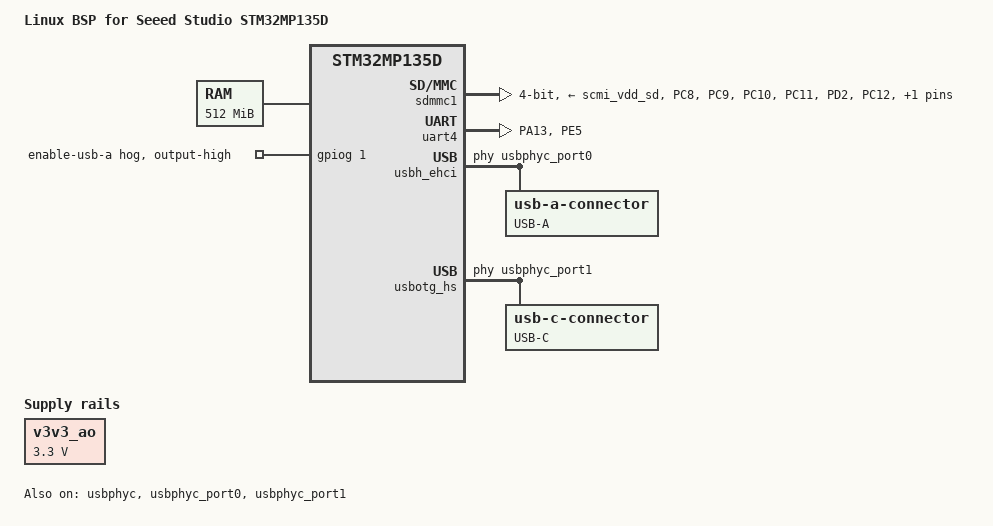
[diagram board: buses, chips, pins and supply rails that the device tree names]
// SPDX-License-Identifier: (GPL-2.0+ OR BSD-3-Clause)
/*
 * Copyright (C) 2026, STMicroelectronics - All Rights Reserved
 * Author: STM32CubeMX code generation for STMicroelectronics.
 */

/* For more information on Device Tree configuration, please refer to
 * https://wiki.st.com/stm32mpu/wiki/Category:Device_tree_configuration
 */

/dts-v1/;

#include <dt-bindings/pinctrl/stm32-pinfunc.h>
#include "stm32mp135.dtsi"
#include "stm32mp13xd.dtsi"

/* USER CODE BEGIN includes */
#include <dt-bindings/gpio/gpio.h>
/* USER CODE END includes */

/ {
	model = "Linux BSP for Seeed Studio STM32MP135D";
	compatible = "seeed,stm32mp135d-odyssey-mx";

	memory@c0000000 {
		device_type = "memory";
		reg = <0xc0000000 0x20000000>;

		/* USER CODE BEGIN memory */
		/* USER CODE END memory */
	};

	reserved-memory {
		#address-cells = <1>;
		#size-cells = <1>;
		ranges;

		/* USER CODE BEGIN reserved-memory */
		optee@dd000000{
			reg = <0xdd000000 0x3000000>;
			no-map;
		};		
		/* USER CODE END reserved-memory */
	};

	/* USER CODE BEGIN root */
	aliases {
		serial0 = &uart4;
	};

	chosen {
		stdout-path = "serial0:115200n8";
		#address-cells = <1>;
		#size-cells = <1>;
		ranges;		
	};

	v3v3_ao:v3v3-ao{
		compatible = "regulator-fixed";
		regulator-name = "v3v3_ao";
		regulator-min-microvolt = <3300000>;
		regulator-max-microvolt = <3300000>;
		regulator-always-on;
	};
	
	/* gpio-keys{ */
	/* 	compatible = "gpio-keys"; */

	/* 	button-user{ */
	/* 		label = "User-PA13"; */
	/* 		linux,code = <BTN_1>; */
	/* 		gpios = <&gpioa 13 (GPIO_ACTIVE_LOW | GPIO_PULL_UP)>; */
	/* 	}; */

	/* 	button-wakeup{ */
	/* 		label = "wake-up"; */
	/* 		linux,code = <KEY_WAKEUP>; */
	/* 		interrupts-extended = <&optee 0>; */
	/* 	}; */
	/* }; */
	/* leds{ */
	/* 	compatible = "gpio-leds"; */

	/* 	led-blue{ */
	/* 		function = LED_FUNCTION_HEARTBEAT; */
	/* 		color = <LED_COLOR_ID_BLUE>; */
	/* 		gpios = <&gpioa 14 GPIO_ACTIVE_LOW>; */
	/* 		linux,default-trigger = "heartbeat"; */
	/* 		default-state = "off"; */
	/* 	}; */
	/* }; */

	
	/* USER CODE END root */

	clocks{

		/* USER CODE BEGIN clocks */
		/* USER CODE END clocks */
	};

}; /*root*/

&pinctrl {
	sdmmc1_pins_mx: sdmmc1_mx-0 {
		pins1 {
			pinmux = <STM32_PINMUX('C', 8, AF12)>, /* SDMMC1_D0 */
					 <STM32_PINMUX('C', 9, AF12)>, /* SDMMC1_D1 */
					 <STM32_PINMUX('C', 10, AF12)>, /* SDMMC1_D2 */
					 <STM32_PINMUX('C', 11, AF12)>, /* SDMMC1_D3 */
					 <STM32_PINMUX('D', 2, AF12)>; /* SDMMC1_CMD */
			bias-disable;
			drive-push-pull;
			slew-rate = <1>;
		};
		pins2 {
			pinmux = <STM32_PINMUX('C', 12, AF12)>; /* SDMMC1_CK */
			bias-disable;
			drive-push-pull;
			slew-rate = <3>;
		};
	};

	sdmmc1_opendrain_pins_mx: sdmmc1_opendrain_mx-0 {
		pins1 {
			pinmux = <STM32_PINMUX('C', 8, AF12)>, /* SDMMC1_D0 */
					 <STM32_PINMUX('C', 9, AF12)>, /* SDMMC1_D1 */
					 <STM32_PINMUX('C', 10, AF12)>, /* SDMMC1_D2 */
					 <STM32_PINMUX('C', 11, AF12)>; /* SDMMC1_D3 */
			bias-disable;
			drive-push-pull;
			slew-rate = <1>;
		};
		pins2 {
			pinmux = <STM32_PINMUX('C', 12, AF12)>; /* SDMMC1_CK */
			bias-disable;
			drive-push-pull;
			slew-rate = <3>;
		};
		pins3 {
			pinmux = <STM32_PINMUX('D', 2, AF12)>; /* SDMMC1_CMD */
			bias-disable;
			drive-open-drain;
			slew-rate = <1>;
		};
	};

	sdmmc1_sleep_pins_mx: sdmmc1_sleep_mx-0 {
		pins {
			pinmux = <STM32_PINMUX('C', 8, ANALOG)>, /* SDMMC1_D0 */
					 <STM32_PINMUX('C', 9, ANALOG)>, /* SDMMC1_D1 */
					 <STM32_PINMUX('C', 10, ANALOG)>, /* SDMMC1_D2 */
					 <STM32_PINMUX('C', 11, ANALOG)>, /* SDMMC1_D3 */
					 <STM32_PINMUX('C', 12, ANALOG)>, /* SDMMC1_CK */
					 <STM32_PINMUX('D', 2, ANALOG)>; /* SDMMC1_CMD */
		};
	};

	uart4_pins_mx: uart4_mx-0 {
		pins1 {
			pinmux = <STM32_PINMUX('A', 13, AF8)>; /* UART4_TX */
			bias-disable;
			drive-push-pull;
			slew-rate = <0>;
		};
		pins2 {
			pinmux = <STM32_PINMUX('E', 5, AF8)>; /* UART4_RX */
			bias-disable;
		};
	};

	uart4_idle_pins_mx: uart4_idle_mx-0 {
		pins1 {
			pinmux = <STM32_PINMUX('A', 13, AF8)>; /* UART4_TX */
			bias-disable;
			drive-push-pull;
			slew-rate = <0>;
		};
		pins2 {
			pinmux = <STM32_PINMUX('E', 5, AF8)>; /* UART4_RX */
			bias-disable;
		};
	};

	uart4_sleep_pins_mx: uart4_sleep_mx-0 {
		pins {
			pinmux = <STM32_PINMUX('A', 13, ANALOG)>, /* UART4_TX */
				 <STM32_PINMUX('E', 5, ANALOG)>; /* UART4_RX */
		};
	};

	/* USER CODE BEGIN pinctrl */
	usb_connector_a_pin_mx: usb_connector_a_pin_mx-0 {
		pins {
			pinmux = <STM32_PINMUX('G', 1, GPIO)>; /* USB1_EN */
		};
	};
	/* USER CODE END pinctrl */
};

&dmamux1 {
	status = "okay";

	/* !!! log : Warning - No dma master found  !!! */

	/* USER CODE BEGIN dmamux1 */
	/* USER CODE END dmamux1 */
};

&mdma {
	status = "okay";

	/* USER CODE BEGIN mdma */
	/* USER CODE END mdma */
};

&rcc {
	status = "okay";

	/* USER CODE BEGIN rcc */
	/* USER CODE END rcc */
};

&sdmmc1 {
	pinctrl-names = "default", "opendrain", "sleep";
	pinctrl-0 = <&sdmmc1_pins_mx>;
	pinctrl-1 = <&sdmmc1_opendrain_pins_mx>;
	pinctrl-2 = <&sdmmc1_sleep_pins_mx>;
	status = "okay";

	/* USER CODE BEGIN sdmmc1 */
	cd-gpios = <&gpioh 10 (GPIO_ACTIVE_LOW | GPIO_PULL_UP)>; // Card detection
	disable-wp;
	st,neg-edge;
	bus-width = <4>;
	vmmc-supply = <&scmi_vdd_sd>;	
	/* USER CODE END sdmmc1 */
};

&uart4 {
	pinctrl-names = "default", "idle", "sleep";
	pinctrl-0 = <&uart4_pins_mx>;
	pinctrl-1 = <&uart4_idle_pins_mx>;
	pinctrl-2 = <&uart4_sleep_pins_mx>;
	interrupts-extended = <>;	
	status = "okay";

	/* USER CODE BEGIN uart4 */
	/delete-property/ dmas;
	/delete-property/ dma-names;
	/* USER CODE END uart4 */
};


&usbphyc {
	status = "okay";

	/* USER CODE BEGIN usbphyc */
	/* USER CODE END usbphyc */
};

&usbphyc_port0 {
	status = "okay";

	/* USER CODE BEGIN usbphyc_port0 */
	phy-supply = <&scmi_vdd_usb>;	
	/* USER CODE END usbphyc_port0 */
};

&usbphyc_port1 {
	status = "okay";

	/* USER CODE BEGIN usbphyc_port1 */
	phy-supply = <&scmi_vdd_usb>;	
	/* USER CODE END usbphyc_port1 */
};

&usbh_ehci {
	status = "okay";

	/* USER CODE BEGIN usbh_ehci */
	phys = <&usbphyc_port0 0>;
	phy-names = "usb2-phy";
	connector {
		compatible = "usb-a-connector";
		label = "USB-A";
	};	
	/* USER CODE END usbh_ehci */
};

&usbotg_hs {
	status = "okay";

	/* USER CODE BEGIN usbotg_hs */
	phys = <&usbphyc_port1 0>;
	phy-names = "usb2-phy";
	connector {
		compatible = "usb-c-connector";
		label = "USB-C";
		data-role = "device";
		power-role = "sink";
	};
	/* USER CODE END usbotg_hs */
};


/* USER CODE BEGIN addons */
&scmi_regu {
	scmi_vddcpu:regulator@6{
		reg = <VOLTD_SCMI_STPMIC1_BUCK1>;
		regulator-name = "vddcpu";
	};

	scmi_vdd:regulator@8{
		reg = <VOLTD_SCMI_STPMIC1_BUCK3>;
		regulator-name = "vdd";
	};

	scmi_vddcore:regulator@9{
		reg = <VOLTD_SCMI_STPMIC1_BUCK4>;
		regulator-name = "vddcore";
	};

	scmi_vdd_adc:regulator@a{
		reg = <VOLTD_SCMI_STPMIC1_LDO1>;
		regulator-name = "vdd_adc";
	};

	scmi_vdd_usb:regulator@d{
		reg = <VOLTD_SCMI_STPMIC1_LDO4>;
		regulator-name = "vdd_usb";
	};

	scmi_vdd_sd:regulator@e{
		reg = <VOLTD_SCMI_STPMIC1_LDO5>;
		regulator-name = "vdd_sd";
	};

	scmi_adc_v1v8:regulator@f{
		reg = <VOLTD_SCMI_STPMIC1_LDO6>;
		regulator-name = "adc_v1v8";
	};

	scmi_v3v3_sw:regulator@13{
		reg = <VOLTD_SCMI_STPMIC1_PWR_SW2>;
		regulator-name = "v3v3_sw";
	};
};

&gpiog {
    usb_connector_a_pin {
        gpio-hog;
        gpios = <1 GPIO_ACTIVE_HIGH>;
        output-high;
        line-name = "enable-usb-a";
    };
};
/* USER CODE END addons */

